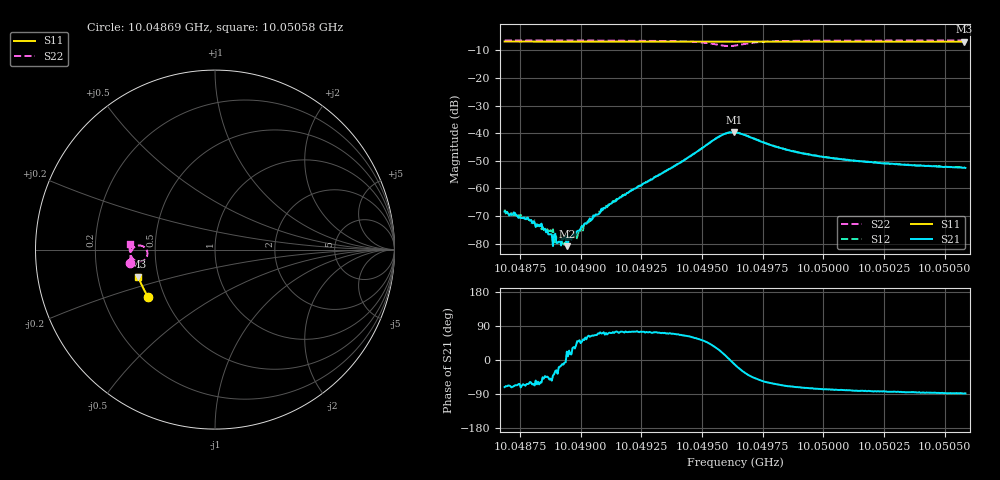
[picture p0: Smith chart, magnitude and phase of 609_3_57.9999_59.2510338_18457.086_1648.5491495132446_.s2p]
#  HZ  S  RI  R  50.00
! Rohde & Schwarz Vector Network Analyzer
! Rohde-Schwarz,ZNB20-2Port,1311601062101988,3.16
! Created: UTC 3/21/2024, 1:17:40 AM
! freq[Hz]  re:S11  im:S11  re:S21  im:S21  re:S12  im:S12  re:S22  im:S22
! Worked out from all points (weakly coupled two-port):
!   401 points, 10.04869 GHz to 10.05058 GHz, reference 50 ohm
!   highest |S21| = -39.68 dB at 10.04963 GHz (marker M1); lowest = -80.9 dB at 10.04894 GHz (marker M2)
!   lowest |S11| = -6.9 dB at 10.05058 GHz (marker M3), VSWR 2.65, Z = 19.3 - j7.35 ohm
!   |S11| at or under -10 dB: nowhere
!   |S22| runs from -8.5 to -6.4 dB; largest |S21 - S12| = 0.00075
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1.0048686e10  -0.3724 -0.2625  0.00012 -0.000359  0.000146 -0.000386  -0.471 -0.0726
1.0048786e10  -0.3761 -0.257  0.000125 -0.000242  0.000134 -0.00023  -0.4716 -0.0649
1.0048833e10  -0.3777 -0.2543  0.000107 -0.000177  0.000136 -0.000176  -0.472 -0.0612
1.0048871e10  -0.3789 -0.2522  9.11e-05 -0.000116  0.000134 -0.000103  -0.4722 -0.0582
1.0048876e10  -0.3792 -0.2519  9.69e-05 -0.000112  0.000132 -0.000115  -0.4722 -0.0579
1.00489e10  -0.38 -0.2506  9.16e-05 -4.68e-05  0.000109 -7.67e-05  -0.4724 -0.0559
1.0048909e10  -0.3803 -0.25  0.000102 -3.58e-05  0.000112 -3.29e-05  -0.4724 -0.0551
1.0048933e10  -0.3811 -0.2487  0.00013 -1.58e-05  9.5e-05 -1.46e-06  -0.4725 -0.0533
1.0048942e10  -0.3816 -0.2482  8.34e-05 3.37e-05  0.000111 4.85e-06  -0.4726 -0.0524
1.0048952e10  -0.3818 -0.2476  0.000117 5.42e-05  0.000126 3.97e-05  -0.4726 -0.0516
1.004899e10  -0.3831 -0.2455  0.000112 0.00013  0.00012 9.93e-05  -0.4726 -0.0483
1.0049004e10  -0.3836 -0.2447  0.000137 0.000153  0.000127 0.000164  -0.4727 -0.0471
1.0049094e10  -0.3865 -0.2396  0.000128 0.000426  0.000144 0.000424  -0.4724 -0.0389
1.0049322e10  -0.3939 -0.2262  0.000538 0.00168  0.00044 0.00171  -0.4676 -0.0124
1.0049569e10  -0.4006 -0.2116  0.0077 0.00389  0.00744 0.0044  -0.3957 0.015
1.0049631e10  -0.402 -0.2085  0.0102 -0.00184  0.0104 -0.00112  -0.3794 -0.039
1.0049635e10  -0.4022 -0.2083  0.0101 -0.00233  0.0102 -0.00161  -0.3814 -0.0434
1.0049802e10  -0.4075 -0.199  0.00254 -0.00513  0.0029 -0.00502  -0.4585 -0.0501
1.0049954e10  -0.4118 -0.1898  0.00106 -0.00383  0.00127 -0.00381  -0.471 -0.0258
1.0050272e10  -0.4197 -0.1703  0.000305 -0.00279  0.000458 -0.00277  -0.4753 0.00663
1.005058e10  -0.4263 -0.1511  7.83e-05 -0.00238  0.000221 -0.00235  -0.4748 0.0311
1.0050585e10  -0.4266 -0.1511  7.96e-05 -0.00235  0.000202 -0.00239  -0.4749 0.0314
